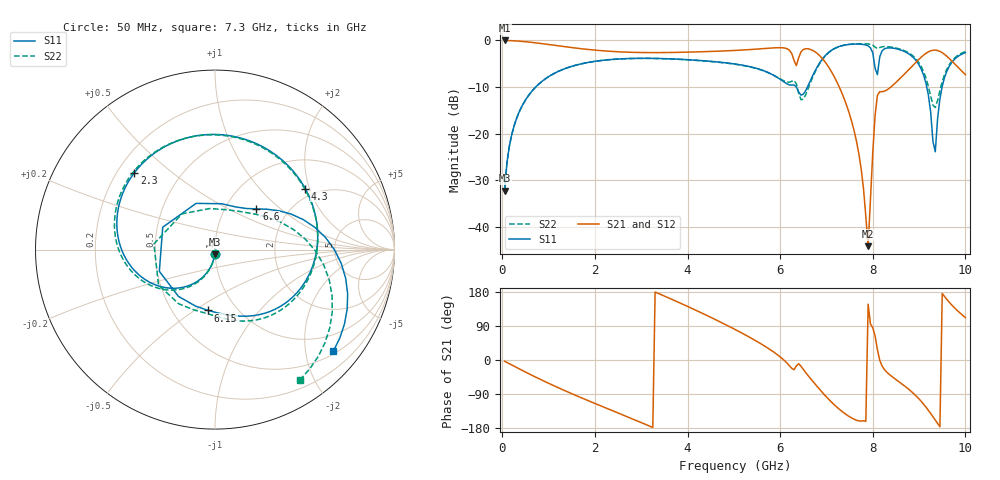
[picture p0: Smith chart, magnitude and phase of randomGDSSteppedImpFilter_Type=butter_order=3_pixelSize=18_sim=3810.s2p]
! freq	dB(S11)	phase(S11)	dB(S12)	phase(S12)
!  dB(S21)	phase(S21)	dB(S22)	phase(S22)
!S-par simulation data
#  GHz  S  DB  R 50
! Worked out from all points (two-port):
!   200 points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, 50 MHz to 10 GHz, reference 50 ohm
!   highest |S21| = -0.01 dB at 50 MHz (marker M1); lowest = -44.2 dB at 7.9 GHz (marker M2)
!   |S21| within 3 dB of the highest: start of sweep to 6.257 GHz; 9.118 GHz to 9.552 GHz (433.2 MHz wide, 4.64 % of centre) (the widest 2 of 3)
!   lowest |S11| = -32.3 dB at 50 MHz (marker M3), VSWR 1.05, Z = 49.8 - j2.42 ohm
!   |S11| at or under -10 dB: start of sweep to 723.5 MHz; 6.351 GHz to 6.59 GHz (239.2 MHz wide, 3.7 % of centre); 9.165 GHz to 9.497 GHz (331.8 MHz wide, 3.56 % of centre)
!   |S22| runs from -32.3 to -0.7 dB; largest |S21 - S12| = 0
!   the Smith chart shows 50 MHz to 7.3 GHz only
!   S11 on the Smith chart (normalised r, x): 50 MHz: 1.00, -0.05; 2.3 GHz: 0.27, +0.37; 4.3 GHz: 1.74, +1.87; 6.15 GHz: 0.74, -0.57; 6.6 GHz: 1.39, +0.71; 7.3 GHz: 0.56, -2.60
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0.05  -32.29 -93.3  -0.01 -3.3  -0.01 -3.3  -32.29 -93.1
0.2  -20.40 -103.6  -0.06 -12.9  -0.06 -12.9  -20.40 -102.9
0.5  -12.81 -123.0  -0.28 -31.7  -0.28 -31.7  -12.81 -121.4
1.75  -4.93 164.8  -1.83 -101.9  -1.83 -101.9  -4.93 170.1
2.3  -4.14 136.5  -2.32 -129.8  -2.32 -129.8  -4.14 142.9
3.4  -3.89 80.9  -2.62 174.1  -2.62 174.1  -3.90 86.8
4.3  -4.34 34.1  -2.44 124.4  -2.44 124.4  -4.37 35.4
5.05  -5.10 -7.1  -2.14 79.1  -2.14 79.1  -5.15 -12.2
6.15  -9.34 -96.5  -1.79 -8.3  -1.79 -8.3  -8.95 -100.2
6.35  -9.99 156.8  -5.42 -15.5  -5.42 -15.5  -9.33 174.6
6.6  -9.80 44.5  -1.79 -40.7  -1.79 -40.7  -10.45 41.0
6.7  -7.62 31.4  -2.13 -55.5  -2.13 -55.5  -7.96 22.1
7.3  -1.22 -40.6  -10.53 -132.2  -10.53 -132.2  -1.25 -56.7
7.7  -0.79 -78.9  -24.39 -160.7  -24.39 -160.7  -0.72 -92.7
7.9  -1.18 -100.4  -44.20 147.3  -44.20 147.3  -0.77 -108.5
8  -2.66 -117.4  -24.11 85.2  -24.11 85.2  -1.01 -117.0
8.1  -7.36 -86.6  -11.79 27.1  -11.79 27.1  -1.76 -120.8
8.35  -1.60 -112.2  -10.33 -37.4  -10.33 -37.4  -1.37 -135.9
9.05  -6.26 175.7  -3.57 -109.7  -3.57 -109.7  -5.68 170.1
9.35  -23.93 -115.4  -2.09 -158.6  -2.09 -158.6  -14.41 -156.4
9.55  -7.97 -101.5  -3.00 167.4  -3.00 167.4  -7.34 -130.7
10  -2.63 -155.5  -7.35 112.1  -7.35 112.1  -2.39 -166.4
